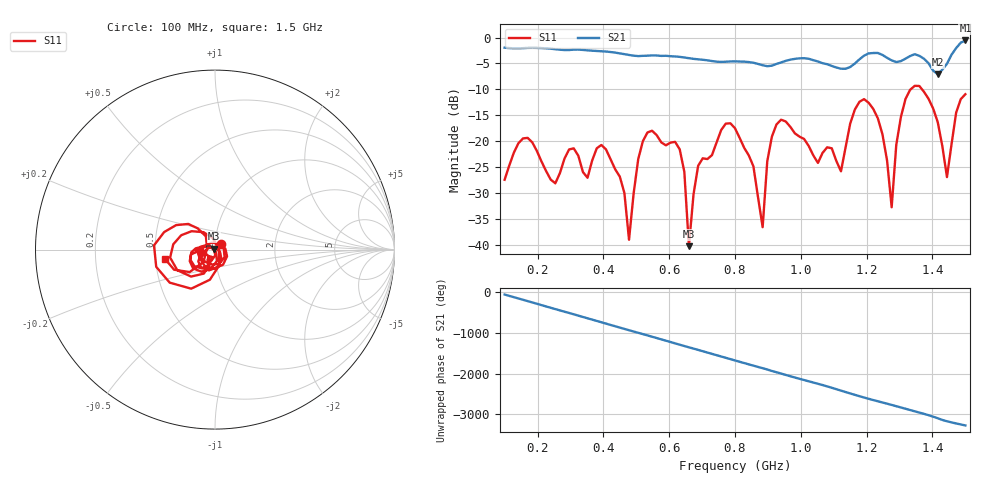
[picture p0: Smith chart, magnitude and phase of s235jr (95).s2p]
! NanoVNA-App
! Date: 2025-09-25 15:04:54
! Start: 100MHz Stop: 1,5GHz Points: 101
! S-Parameter data: F S11 S21 S12 S22
# Hz S RI R 50
!  Frequency  S11_Real  S11_Imag  S21_Real  S21_Imag  S12_Real  S12_Imag  S22_Real  S22_Imag
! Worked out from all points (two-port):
!   101 points, 100 MHz to 1.5 GHz, reference 50 ohm
!   highest |S21| = -0.57 dB at 1.5 GHz (marker M1); lowest = -7.1 dB at 1.416 GHz (marker M2)
!   |S21| within 3 dB of the highest: start of sweep to 502.3 MHz; 512 MHz to 596.4 MHz (84.39 MHz wide, 15.2 % of centre) (the widest 2 of 5)
!   lowest |S11| = -40.3 dB at 660 MHz (marker M3), VSWR 1.02, Z = 49.2 + j0.555 ohm
!   |S11| at or under -10 dB: start of sweep to 1.334 GHz; 1.368 GHz to end of sweep
!   S12 and S22 are empty: the file has one direction only
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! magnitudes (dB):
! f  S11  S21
! 100 MHz  -27.5  -2.0
! 170 MHz  -19.4  -2.0
! 338 MHz  -26.0  -2.4
! 408 MHz  -21.6  -2.7
! 478 MHz  -39.1  -3.4
! 520 MHz  -20.0  -3.5
! 576 MHz  -20.3  -3.5
! 632 MHz  -21.6  -3.7
! 660 MHz  -40.3  -4.0
! 688 MHz  -24.8  -4.2
! 800 MHz  -17.5  -4.6
! 884 MHz  -36.6  -5.4
! 926 MHz  -16.8  -5.1
! 1.038 GHz  -22.8  -4.4
! 1.122 GHz  -25.8  -6.0
! 1.192 GHz  -11.9  -3.5
! 1.248 GHz  -18.7  -3.4
! 1.276 GHz  -32.8  -4.4
! 1.332 GHz  -10.1  -3.6
! 1.416 GHz  -16.3  -7.1
! 1.444 GHz  -27.0  -5.1
! 1.5 GHz  -11.0  -0.6
